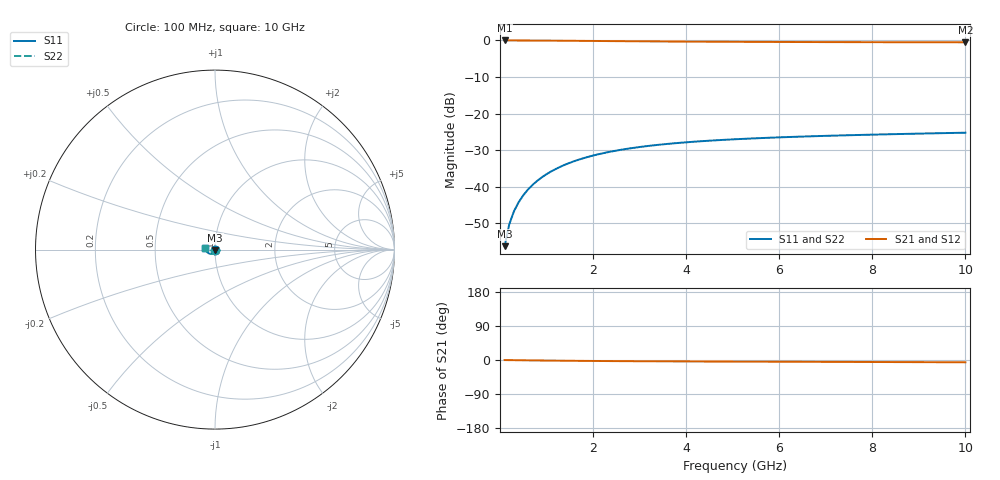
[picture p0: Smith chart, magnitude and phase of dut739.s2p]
! Touchstone file exported from HFSS 2024.1.0
!  File:  C:/UserFiles/LocalFiles/RDL_TSV_Batchsim/temp_TSV1_739_1779870179.aedt
!  Generated:  04:28:04 PM May 27, 2026
!  Design:  TSV1
!  Project:  temp_TSV1_739_1779870179
!  Setup:  Setup1
!  Solution:  Sweep
! Variables:
!  dtsv = 11.07um
!  hbump = 3um
!  htsv = 94.67um
!  lrdl = 252.1521522um
!  p = 40
!  p1 = 56.66um
!  t = 500um
!  trdl = 3um
!  wrdl = 24.89489489um
# GHz S MA R 50.000000
! Terminal data exported
! Port[1] = TSV22_T1
! Port[2] = TSV22_T2
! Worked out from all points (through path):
!   100 points, 100 MHz to 10 GHz, reference 50 ohm
!   highest |S21| = 0.00 dB at 100 MHz (marker M1); lowest = -0.5 dB at 10 GHz (marker M2)
!   lowest |S11| = -56.2 dB at 100 MHz (marker M3), VSWR 1.00, Z = 50 - j0.154 ohm
!   |S11| at or under -10 dB: start of sweep to end of sweep
!   |S22| runs from -56.2 to -25.2 dB; largest |S21 - S12| = 1e-14
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0.1  0.001543 -87.1  0.9998 -0.2  0.9998 -0.2  0.001543 -87.1
! Gamma 0 0 0 0
! Port Impedance 50 0 50 0
0.2  0.003076 -91.4  0.9996 -0.3  0.9996 -0.3  0.003076 -91.4
0.3  0.004608 -94.1  0.9994 -0.5  0.9994 -0.5  0.004608 -94.1
0.4  0.006132 -96.4  0.999 -0.6  0.999 -0.6  0.006132 -96.4
0.5  0.007643 -98.6  0.9985 -0.8  0.9985 -0.8  0.007643 -98.6
0.6  0.009137 -100.6  0.9979 -0.9  0.9979 -0.9  0.009137 -100.6
0.7  0.01061 -102.7  0.9973 -1.0  0.9973 -1.0  0.01061 -102.7
0.8  0.01206 -104.7  0.9966 -1.2  0.9966 -1.2  0.01206 -104.7
0.9  0.01347 -106.6  0.9958 -1.3  0.9958 -1.3  0.01347 -106.6
1.1  0.01621 -110.4  0.994 -1.6  0.994 -1.6  0.01621 -110.4
1.4  0.02005 -115.8  0.991 -1.9  0.991 -1.9  0.02005 -115.8
1.6  0.02243 -119.2  0.9888 -2.1  0.9888 -2.1  0.02243 -119.2
1.8  0.02464 -122.5  0.9866 -2.3  0.9866 -2.3  0.02464 -122.5
2.1  0.02768 -127.1  0.9831 -2.6  0.9831 -2.6  0.02768 -127.1
2.5  0.03123 -132.8  0.9787 -2.9  0.9787 -2.9  0.03123 -132.8
2.9  0.03426 -137.9  0.9745 -3.2  0.9745 -3.2  0.03426 -137.9
3.4  0.03743 -143.7  0.9698 -3.5  0.9698 -3.5  0.03743 -143.7
4.2  0.04142 -151.7  0.9634 -3.8  0.9634 -3.8  0.04142 -151.7
5.1  0.04477 -159.3  0.9578 -4.2  0.9578 -4.2  0.04477 -159.3
6.7  0.04902 -170.1  0.9508 -4.8  0.9508 -4.8  0.04902 -170.1
8.4  0.05229 -179.3  0.9461 -5.4  0.9461 -5.4  0.05229 -179.4
10  0.05484 173.4  0.9431 -6.0  0.9431 -6.0  0.05484 173.4
